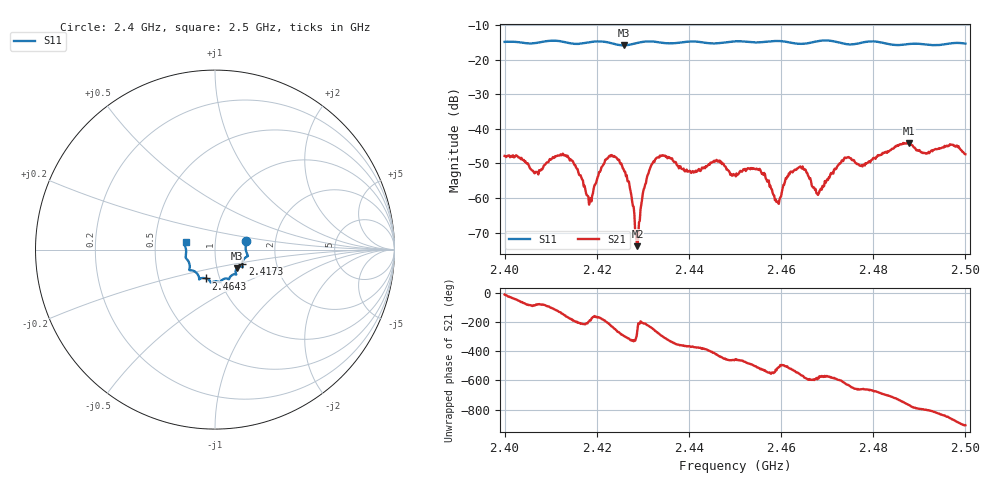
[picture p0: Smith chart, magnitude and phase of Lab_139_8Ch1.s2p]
# Hz S RI R 50
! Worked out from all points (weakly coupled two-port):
!   601 points, 2.4 GHz to 2.5 GHz, reference 50 ohm
!   highest |S21| = -44.06 dB at 2.4877 GHz (marker M1); lowest = -73.9 dB at 2.4288 GHz (marker M2)
!   lowest |S11| = -15.9 dB at 2.4258 GHz (marker M3), VSWR 1.38, Z = 62.3 - j13.2 ohm
!   |S11| at or under -10 dB: start of sweep to end of sweep
!   S12 and S22 are empty: the file has one direction only
!   S11 on the Smith chart (normalised r, x): 2.4 GHz: 1.41, +0.14; 2.4173 GHz: 1.34, -0.22; 2.4643 GHz: 0.86, -0.28; 2.5 GHz: 0.72, +0.06
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2.4e9  0.1728 0.0488  0.00396 -0.0009  0 0  0 0
2.406833e9  0.1729 -0.00817  0.000384 -0.00235  0 0  0 0
2.413167e9  0.1724 -0.0422  -0.00375 -0.00168  0 0  0 0
2.416667e9  0.1525 -0.0742  -0.0017 0.00104  0 0  0 0
2.417333e9  0.1517 -0.0816  -0.00124 0.000864  0 0  0 0
2.418667e9  0.1526 -0.0931  -0.000983 0.000174  0 0  0 0
2.422833e9  0.1467 -0.0942  -0.00324 0.00251  0 0  0 0
2.425833e9  0.1218 -0.1035  0.00112 0.00235  0 0  0 0
2.428833e9  0.1149 -0.1303  -6.88e-05 0.000191  0 0  0 0
2.4305e9  0.1182 -0.1375  -0.00133 0.000823  0 0  0 0
2.433333e9  0.1132 -0.1372  0.00051 0.00386  0 0  0 0
2.45e9  0.0289 -0.1809  -0.000315 -0.00214  0 0  0 0
2.455167e9  0.000376 -0.1768  -0.00233 -0.00104  0 0  0 0
2.459167e9  -0.0227 -0.184  -0.000819 -0.000343  0 0  0 0
2.4615e9  -0.0281 -0.1757  -0.00182 -0.000956  0 0  0 0
2.464333e9  -0.0499 -0.1606  -0.00253 0.00118  0 0  0 0
2.466667e9  -0.0759 -0.1593  -0.000836 0.00126  0 0  0 0
2.468333e9  -0.0863 -0.1646  -0.00107 0.000661  0 0  0 0
2.474167e9  -0.0986 -0.1344  -0.000175 0.0038  0 0  0 0
2.483333e9  -0.1407 -0.0899  0.00455 0.00116  0 0  0 0
2.487667e9  -0.159 -0.0519  0.00418 -0.00468  0 0  0 0
2.5e9  -0.1642 0.0429  -0.00426 0.000562  0 0  0 0
